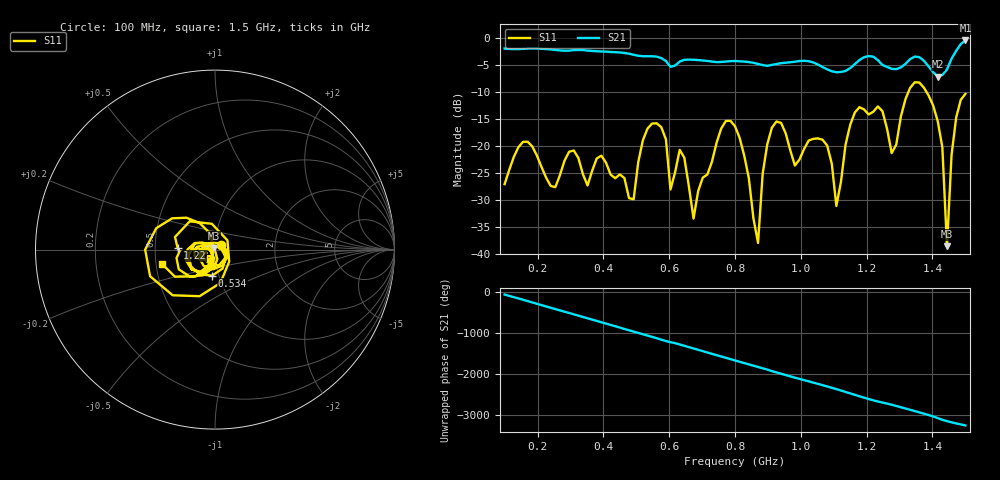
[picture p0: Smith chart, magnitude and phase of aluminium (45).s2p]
! NanoVNA-App
! Date: 2025-09-26 09:58:24
! Start: 100MHz Stop: 1,5GHz Points: 101
! S-Parameter data: F S11 S21 S12 S22
# Hz S RI R 50
!  Frequency  S11_Real  S11_Imag  S21_Real  S21_Imag  S12_Real  S12_Imag  S22_Real  S22_Imag
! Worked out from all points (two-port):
!   101 points, 100 MHz to 1.5 GHz, reference 50 ohm
!   highest |S21| = -0.41 dB at 1.5 GHz (marker M1); lowest = -7.1 dB at 1.416 GHz (marker M2)
!   |S21| within 3 dB of the highest: start of sweep to 562.2 MHz; 1.461 GHz to end of sweep (the widest 2 of 4)
!   lowest |S11| = -38.5 dB at 1.444 GHz (marker M3), VSWR 1.02, Z = 49.3 + j0.941 ohm
!   |S11| at or under -10 dB: start of sweep to 1.327 GHz; 1.382 GHz to end of sweep
!   S12 and S22 are empty: the file has one direction only
!   S11 on the Smith chart (normalised r, x): 100 MHz: 1.07, +0.06; 534 MHz: 0.93, -0.28; 1.22 GHz: 0.66, +0.01; 1.5 GHz: 0.54, -0.10
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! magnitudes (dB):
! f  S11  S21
! 100 MHz  -27.0  -1.9
! 156 MHz  -19.2  -2.0
! 338 MHz  -25.2  -2.2
! 492 MHz  -29.8  -3.1
! 534 MHz  -16.7  -3.3
! 576 MHz  -16.5  -3.7
! 604 MHz  -28.0  -5.3
! 674 MHz  -33.4  -4.0
! 800 MHz  -16.3  -4.2
! 870 MHz  -37.9  -4.8
! 912 MHz  -16.6  -4.9
! 1.038 GHz  -18.6  -4.5
! 1.108 GHz  -31.1  -6.3
! 1.164 GHz  -13.8  -4.8
! 1.22 GHz  -13.6  -3.4
! 1.276 GHz  -21.3  -5.7
! 1.346 GHz  -8.2  -3.4
! 1.416 GHz  -15.4  -7.1
! 1.43 GHz  -20.2  -6.8
! 1.444 GHz  -38.5  -5.8
! 1.458 GHz  -21.6  -3.8
! 1.5 GHz  -10.3  -0.4
